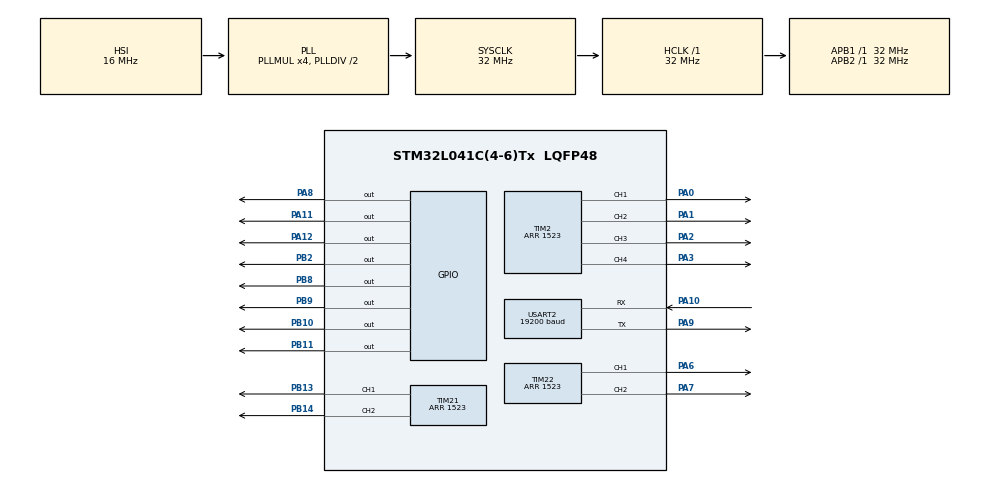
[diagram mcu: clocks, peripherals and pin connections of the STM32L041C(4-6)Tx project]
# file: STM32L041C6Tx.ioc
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LPTIM1.ClockPrescaler=LPTIM_PRESCALER_DIV128
Mcu.Family=STM32L0
Mcu.Name=STM32L041C(4-6)Tx
Mcu.Package=LQFP48
NVIC.LPTIM1_IRQn=true\:0\:0\:false\:false\:true\:true\:true\:true
NVIC.USART2_IRQn=true\:0\:0\:false\:false\:true\:true\:true\:true
PA0.Signal=S_TIM2_CH1
PA1.Signal=S_TIM2_CH2
PA10.Mode=Asynchronous
PA10.Signal=USART2_RX
PA11.Signal=GPIO_Output
PA12.Signal=GPIO_Output
PA13.Mode=Serial_Wire
PA13.Signal=SYS_SWDIO
PA14.Mode=Serial_Wire
PA14.Signal=SYS_SWCLK
PA2.Signal=S_TIM2_CH3
PA3.Signal=S_TIM2_CH4
PA6.Signal=S_TIM22_CH1
PA7.Signal=S_TIM22_CH2
PA8.Signal=GPIO_Output
PA9.Mode=Asynchronous
PA9.Signal=USART2_TX
PB10.Signal=GPIO_Output
PB11.Signal=GPIO_Output
PB13.Signal=S_TIM21_CH1
PB14.Signal=S_TIM21_CH2
PB2.Signal=GPIO_Output
PB8.Signal=GPIO_Output
PB9.Signal=GPIO_Output
PH0-OSC_IN.Mode=HSE-External-Oscillator
PH0-OSC_IN.Signal=RCC_OSC_IN
PH1-OSC_OUT.Mode=HSE-External-Oscillator
PH1-OSC_OUT.Signal=RCC_OSC_OUT
ProjectManager.HeapSize=0x200
ProjectManager.StackSize=0x400
ProjectManager.TargetToolchain=STM32CubeIDE
RCC.AHBFreq_Value=32000000
RCC.APB1Freq_Value=32000000
RCC.APB1TimFreq_Value=32000000
RCC.APB2Freq_Value=32000000
RCC.APB2TimFreq_Value=32000000
RCC.HCLKFreq_Value=32000000
RCC.HSE_VALUE=24000000
RCC.HSI16_VALUE=16000000
RCC.HSI_VALUE=16000000
RCC.LSE_VALUE=32768
RCC.LptimClockSelection=RCC_LPTIM1CLKSOURCE_LSI
RCC.MSI_VALUE=2097000
RCC.PLLMUL=RCC_PLLMUL_4
RCC.SYSCLKFreq_VALUE=32000000
RCC.SYSCLKSource=RCC_SYSCLKSOURCE_PLLCLK
RCC.VCOOutputFreq_Value=64000000
SH.S_TIM21_CH1.0=TIM21_CH1,PWM Generation1 CH1
SH.S_TIM21_CH2.0=TIM21_CH2,PWM Generation2 CH2
SH.S_TIM22_CH1.0=TIM22_CH1,PWM Generation1 CH1
SH.S_TIM22_CH2.0=TIM22_CH2,PWM Generation2 CH2
SH.S_TIM2_CH1.0=TIM2_CH1,PWM Generation1 CH1
SH.S_TIM2_CH2.0=TIM2_CH2,PWM Generation2 CH2
SH.S_TIM2_CH3.0=TIM2_CH3,PWM Generation3 CH3
SH.S_TIM2_CH4.0=TIM2_CH4,PWM Generation4 CH4
TIM2.Channel-PWM\ Generation1\ CH1=TIM_CHANNEL_1
TIM2.Channel-PWM\ Generation2\ CH2=TIM_CHANNEL_2
TIM2.Channel-PWM\ Generation3\ CH3=TIM_CHANNEL_3
TIM2.Channel-PWM\ Generation4\ CH4=TIM_CHANNEL_4
TIM2.CounterMode=TIM_COUNTERMODE_CENTERALIGNED1
TIM2.Period=1523
TIM21.Channel-PWM\ Generation1\ CH1=TIM_CHANNEL_1
TIM21.Channel-PWM\ Generation2\ CH2=TIM_CHANNEL_2
TIM21.CounterMode=TIM_COUNTERMODE_CENTERALIGNED1
TIM21.Period=1523
TIM22.Channel-PWM\ Generation1\ CH1=TIM_CHANNEL_1
TIM22.Channel-PWM\ Generation2\ CH2=TIM_CHANNEL_2
TIM22.CounterMode=TIM_COUNTERMODE_CENTERALIGNED1
TIM22.Period=1523
USART2.BaudRate=19200
USART2.VirtualMode-Asynchronous=VM_ASYNC
VP_LPTIM1_VS_LPTIM_counterModeInternalClock.Mode=Counts__internal_clock_event_00
board=custom

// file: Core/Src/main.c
/* USER CODE BEGIN Header */
/**
  ******************************************************************************
  * @file           : main.c
  * @brief          : Main program body
  ******************************************************************************
  * @attention
  *
  * Copyright (c) 2022 STMicroelectronics.
  * All rights reserved.
  *
  * This software is licensed under terms that can be found in the LICENSE file
  * in the root directory of this software component.
  * If no LICENSE file comes with this software, it is provided AS-IS.
  *
  ******************************************************************************
  */
/* USER CODE END Header */
#include "main.h"
#include "lptim.h"
#include "usart.h"
#include "gpio.h"

/* USER CODE BEGIN Includes */

#include "tim.h"
#include "global_config.h"
#include "controller.h"
#include "statemachine_process.h"
#include "statemachine_uart.h"
#include "knx_receive_telegram.h"

/* USER CODE END Includes */

void SystemClock_Config(void);

/* USER CODE BEGIN 0 */
void HAL_UART_TxCpltCallback(UART_HandleTypeDef *huart);
void HAL_UART_RxCpltCallback(UART_HandleTypeDef *huart);
void HAL_UART_ErrorCallback(UART_HandleTypeDef *huart);
void HAL_LPTIM_AutoReloadMatchCallback(LPTIM_HandleTypeDef *hlptim);

/* USER CODE END 0 */

int main(void)
{

  /* MCU Configuration--------------------------------------------------------*/

  /* Reset of all peripherals, Initializes the Flash interface and the Systick. */
  HAL_Init();

  /* Configure the system clock */
  SystemClock_Config();

  /* Initialize all configured peripherals */
  MX_GPIO_Init();
  MX_TIM2_Init();
  MX_TIM21_Init();
  MX_TIM22_Init();
  MX_USART2_UART_Init();
  MX_LPTIM1_Init();
  /* USER CODE BEGIN 2 */

  //Hinzufügen von Gruppenaddressen auf die reagiert werden sollen
  add_listen_group_address("15/0/1");
  add_listen_group_address("15/0/2");
  add_listen_group_address("15/0/3");

  /* USER CODE END 2 */

  /* Infinite loop */
  /* USER CODE BEGIN WHILE */
  while (1)
  {
	  statemachine_process();
	  extract_data();

    /* USER CODE END WHILE */

  }
}

void SystemClock_Config(void)
{
  RCC_OscInitTypeDef RCC_OscInitStruct = {0};
  RCC_ClkInitTypeDef RCC_ClkInitStruct = {0};
  RCC_PeriphCLKInitTypeDef PeriphClkInit = {0};

  /** Configure the main internal regulator output voltage
  */
  __HAL_PWR_VOLTAGESCALING_CONFIG(PWR_REGULATOR_VOLTAGE_SCALE1);
  /** Initializes the RCC Oscillators according to the specified parameters
  * in the RCC_OscInitTypeDef structure.
  */
  RCC_OscInitStruct.OscillatorType = RCC_OSCILLATORTYPE_HSI|RCC_OSCILLATORTYPE_LSI;
  RCC_OscInitStruct.HSIState = RCC_HSI_ON;
  RCC_OscInitStruct.HSICalibrationValue = RCC_HSICALIBRATION_DEFAULT;
  RCC_OscInitStruct.LSIState = RCC_LSI_ON;
  RCC_OscInitStruct.PLL.PLLState = RCC_PLL_ON;
  RCC_OscInitStruct.PLL.PLLSource = RCC_PLLSOURCE_HSI;
  RCC_OscInitStruct.PLL.PLLMUL = RCC_PLLMUL_4;
  RCC_OscInitStruct.PLL.PLLDIV = RCC_PLLDIV_2;
  if (HAL_RCC_OscConfig(&RCC_OscInitStruct) != HAL_OK)
  {
    Error_Handler();
  }
  /** Initializes the CPU, AHB and APB buses clocks
  */
  RCC_ClkInitStruct.ClockType = RCC_CLOCKTYPE_HCLK|RCC_CLOCKTYPE_SYSCLK
                              |RCC_CLOCKTYPE_PCLK1|RCC_CLOCKTYPE_PCLK2;
  RCC_ClkInitStruct.SYSCLKSource = RCC_SYSCLKSOURCE_PLLCLK;
  RCC_ClkInitStruct.AHBCLKDivider = RCC_SYSCLK_DIV1;
  RCC_ClkInitStruct.APB1CLKDivider = RCC_HCLK_DIV1;
  RCC_ClkInitStruct.APB2CLKDivider = RCC_HCLK_DIV1;

  if (HAL_RCC_ClockConfig(&RCC_ClkInitStruct, FLASH_LATENCY_1) != HAL_OK)
  {
    Error_Handler();
  }
  PeriphClkInit.PeriphClockSelection = RCC_PERIPHCLK_USART2|RCC_PERIPHCLK_LPTIM1;
  PeriphClkInit.Usart2ClockSelection = RCC_USART2CLKSOURCE_PCLK1;
  PeriphClkInit.LptimClockSelection = RCC_LPTIM1CLKSOURCE_LSI;

  if (HAL_RCCEx_PeriphCLKConfig(&PeriphClkInit) != HAL_OK)
  {
    Error_Handler();
  }
}

/* USER CODE BEGIN 4 */

void HAL_UART_RxCpltCallback(UART_HandleTypeDef *huart){
	statemachine_uart();
}

void HAL_UART_TxCpltCallback(UART_HandleTypeDef *huart){
	__NOP();
}

void HAL_LPTIM_AutoReloadMatchCallback(LPTIM_HandleTypeDef *hlptim){
	static uint8_t lptim_counter = 0;
	lptim_counter++;
	//alle 40 Sekunden:
	if(lptim_counter == switch_direction_interval){
		set_flag_switch_direction_demand();
	}
	//alle 60 Sekunden:
	else if(lptim_counter == (switch_direction_interval + spin_out_time)){
		set_flag_fans_spun_out();
		lptim_counter = 0;
	}

}

/* USER CODE END 4 */

void Error_Handler(void)
{
  __disable_irq();
  while (1)
  {
  }
}
